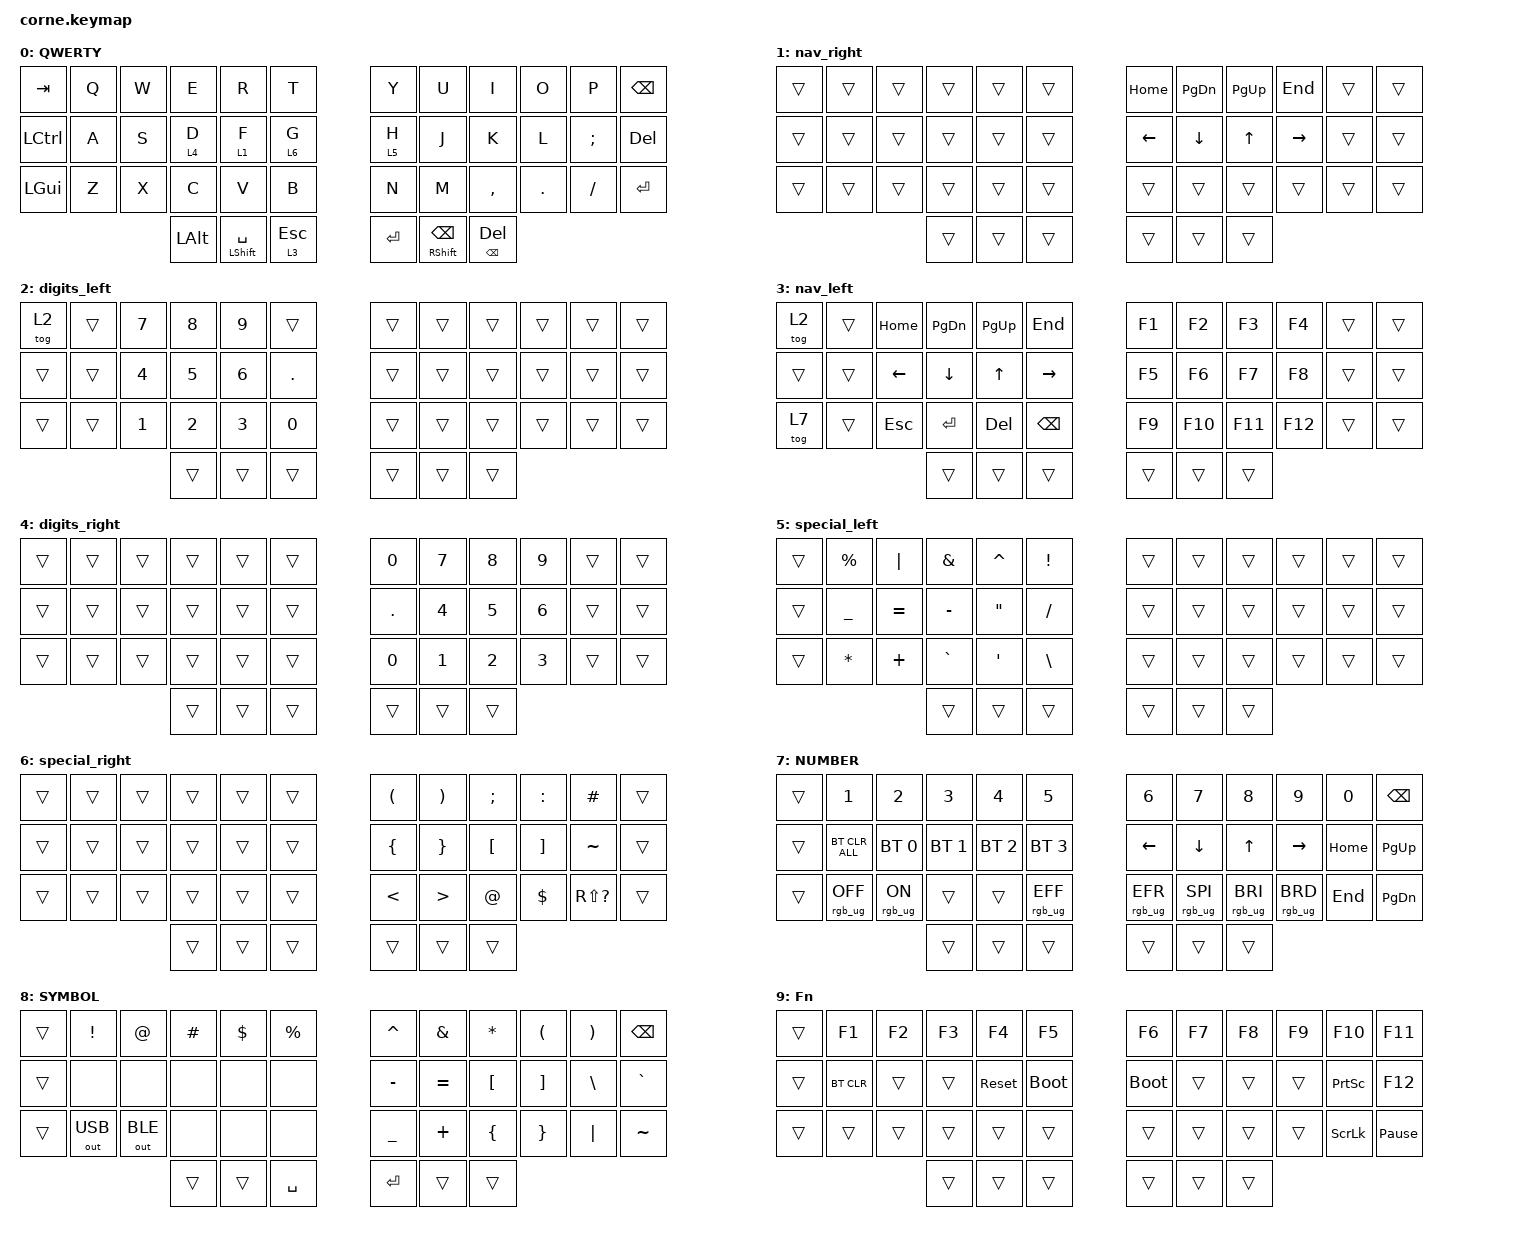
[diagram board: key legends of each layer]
/*
 * Copyright (c) 2020 The ZMK Contributors
 *
 * SPDX-License-Identifier: MIT
 */

#include <behaviors.dtsi>
#include <dt-bindings/zmk/bt.h>
#include <dt-bindings/zmk/keys.h>
#include <dt-bindings/zmk/outputs.h>
#include <dt-bindings/zmk/rgb.h>

&lt { tapping-term-ms = <200>; };

&mt {
    tapping-term-ms = <200>;
    hold-while-undecided;
};

/ {
    chosen {
        zmk,matrix_transform = &default_transform;

        // zmk,matrix_transform = &five_column_transform;
    };
};

/ {
    combos {
        compatible = "zmk,combos";

        lbspc {
            bindings = <&kp BACKSPACE>;
            key-positions = <38 37>;
            layers = <0>;
        };
    };

    keymap {
        compatible = "zmk,keymap";

        default_layer {
            display-name = "QWERTY";

            // --------------------------------------------------------------------------------
            // |  TAB |  Q  |  W  |  E  |  R  |  T  |   |  Y  |  U   |  I  |  O  |  P  | BKSP |
            // | CTRL |  A  |  S  |  D  |  F  |  G  |   |  H  |  J   |  K  |  L  |  ;  |  '   | 
            // | SHFT |  Z  |  X  |  C  |  V  |  B  |   |  N  |  M   |  ,  |  .  |  /  | ESC  |
            //                    | GUI | LWR | SPC |   | ENT | RSE  | ALT |

            bindings = <
&kp TAB    &kp Q  &kp W  &kp E         &kp R                 &kp T           &kp Y      &kp U                &kp I              &kp O    &kp P     &kp BSPC
&kp LCTRL  &kp A  &kp S  &lt 4 D       &lt 1 F               &lt 6 G         &lt 5 H    &kp J                &kp K              &kp L    &kp SEMI  &kp DELETE
&kp LGUI   &kp Z  &kp X  &kp C         &kp V                 &kp B           &kp N      &kp M                &kp COMMA          &kp DOT  &kp FSLH  &kp ENTER
                         &kp LEFT_ALT  &mt LEFT_SHIFT SPACE  &lt 3 ESCAPE    &kp ENTER  &mt RSHFT BACKSPACE  &mt BACKSPACE DEL
            >;
        };

        nav_right {
            bindings = <
&trans  &trans  &trans  &trans  &trans  &trans    &kp HOME        &kp PAGE_DOWN  &kp PAGE_UP  &kp END    &trans  &trans
&trans  &trans  &trans  &trans  &trans  &trans    &kp LEFT_ARROW  &kp DOWN       &kp UP       &kp RIGHT  &trans  &trans
&trans  &trans  &trans  &trans  &trans  &trans    &trans          &trans         &trans       &trans     &trans  &trans
                        &trans  &trans  &trans    &trans          &trans         &trans
            >;
        };

        digits_left {
            bindings = <
&tog 2  &trans  &kp N7  &kp N8  &kp N9  &trans     &trans  &trans  &trans  &trans  &trans  &trans
&trans  &trans  &kp N4  &kp N5  &kp N6  &kp DOT    &trans  &trans  &trans  &trans  &trans  &trans
&trans  &trans  &kp N1  &kp N2  &kp N3  &kp N0     &trans  &trans  &trans  &trans  &trans  &trans
                        &trans  &trans  &trans     &trans  &trans  &trans
            >;
        };

        nav_left {
            bindings = <
&tog 2  &trans  &kp HOME        &kp PAGE_DOWN  &kp PAGE_UP   &kp END          &kp F1  &kp F2   &kp F3   &kp F4   &trans  &trans
&trans  &trans  &kp LEFT_ARROW  &kp DOWN       &kp UP_ARROW  &kp RIGHT        &kp F5  &kp F6   &kp F7   &kp F8   &trans  &trans
&tog 7  &trans  &kp ESCAPE      &kp ENTER      &kp DEL       &kp BACKSPACE    &kp F9  &kp F10  &kp F11  &kp F12  &trans  &trans
                                &trans         &trans        &trans           &trans  &trans   &trans
            >;
        };

        digits_right {
            bindings = <
&trans  &trans  &trans  &trans  &trans  &trans    &kp N0   &kp N7        &kp N8        &kp N9        &trans  &trans
&trans  &trans  &trans  &trans  &trans  &trans    &kp DOT  &kp NUMBER_4  &kp N5        &kp NUMBER_6  &trans  &trans
&trans  &trans  &trans  &trans  &trans  &trans    &kp N0   &kp NUMBER_1  &kp NUMBER_2  &kp NUMBER_3  &trans  &trans
                        &trans  &trans  &trans    &trans   &trans        &trans
            >;
        };

        special_left {
            bindings = <
&trans  &kp PERCENT     &kp PIPE   &kp AMPERSAND  &kp CARET          &kp EXCL         &trans  &trans  &trans  &trans  &trans  &trans
&trans  &kp UNDERSCORE  &kp EQUAL  &kp MINUS      &kp DOUBLE_QUOTES  &kp SLASH        &trans  &trans  &trans  &trans  &trans  &trans
&trans  &kp ASTERISK    &kp PLUS   &kp GRAVE      &kp SQT            &kp BACKSLASH    &trans  &trans  &trans  &trans  &trans  &trans
                                   &trans         &trans             &trans           &trans  &trans  &trans
            >;
        };

        special_right {
            bindings = <
&trans  &trans  &trans  &trans  &trans  &trans    &kp LEFT_PARENTHESIS  &kp RIGHT_PARENTHESIS  &kp SEMICOLON     &kp COLON          &kp HASH          &trans
&trans  &trans  &trans  &trans  &trans  &trans    &kp LEFT_BRACE        &kp RIGHT_BRACE        &kp LEFT_BRACKET  &kp RIGHT_BRACKET  &kp TILDE         &trans
&trans  &trans  &trans  &trans  &trans  &trans    &kp LESS_THAN         &kp GREATER_THAN       &kp AT_SIGN       &kp DOLLAR         &kp RS(QUESTION)  &trans
                        &trans  &trans  &trans    &trans                &trans                 &trans
            >;
        };

        bt_layer {
            display-name = "NUMBER";

            // -----------------------------------------------------------------------------------------
            // |  TAB |  1  |  2  |  3  |  4  |  5  |   |  6  |  7  |  8  |  9  |  0  | BKSP |
            // | BTCLR| BT1 | BT2 | BT3 | BT4 | BT5 |   | LFT | DWN |  UP | RGT |     |      |
            // | SHFT |     |     |     |     |     |   |     |     |     |     |     |      |
            //                    | GUI |     | SPC |   | ENT |     | ALT |

            bindings = <
&trans  &kp N1           &kp N2          &kp N3        &kp N4        &kp N5             &kp N6           &kp N7           &kp N8           &kp N9           &kp N0    &kp BSPC
&trans  &bt BT_CLR_ALL   &bt BT_SEL 0    &bt BT_SEL 1  &bt BT_SEL 2  &bt BT_SEL 3       &kp LEFT         &kp DOWN         &kp UP           &kp RIGHT        &kp HOME  &kp PG_UP
&trans  &rgb_ug RGB_OFF  &rgb_ug RGB_ON  &trans        &trans        &rgb_ug RGB_EFF    &rgb_ug RGB_EFR  &rgb_ug RGB_SPI  &rgb_ug RGB_BRI  &rgb_ug RGB_BRD  &kp END   &kp PG_DN
                                         &trans        &trans        &trans             &trans           &trans           &trans
            >;
        };

        raise_layer {
            display-name = "SYMBOL";

            // -----------------------------------------------------------------------------------------
            // |  TAB |  !  |  @  |  #  |  $  |  %  |   |  ^  |  &  |  *  |  (  |  )  | BKSP |
            // | CTRL |     |     |     |     |     |   |  -  |  =  |  [  |  ]  |  \  |  `   |
            // | SHFT |     |     |     |     |     |   |  _  |  +  |  {  |  }  | "|" |  ~   |
            //                    | GUI |     | SPC |   | ENT |     | ALT |

            bindings = <
&trans  &kp EXCL      &kp AT        &kp HASH  &kp DLLR  &kp PRCNT    &kp CARET  &kp AMPS   &kp ASTRK  &kp LPAR  &kp RPAR  &kp BSPC
&trans  &none         &none         &none     &none     &none        &kp MINUS  &kp EQUAL  &kp LBKT   &kp RBKT  &kp BSLH  &kp GRAVE
&trans  &out OUT_USB  &out OUT_BLE  &none     &none     &none        &kp UNDER  &kp PLUS   &kp LBRC   &kp RBRC  &kp PIPE  &kp TILDE
                                    &trans    &trans    &kp SPACE    &kp RET    &trans     &trans
            >;
        };

        layer_3 {
            display-name = "Fn";
            bindings = <
&trans  &kp F1      &kp F2  &kp F3  &kp F4      &kp F5         &kp F6       &kp F7  &kp F8  &kp F9  &kp F10          &kp F11
&trans  &bt BT_CLR  &trans  &trans  &sys_reset  &bootloader    &bootloader  &trans  &trans  &trans  &kp PRINTSCREEN  &kp F12
&trans  &trans      &trans  &trans  &trans      &trans         &trans       &trans  &trans  &trans  &kp SCROLLLOCK   &kp PAUSE_BREAK
                            &trans  &trans      &trans         &trans       &trans  &trans
            >;
        };
    };
};
